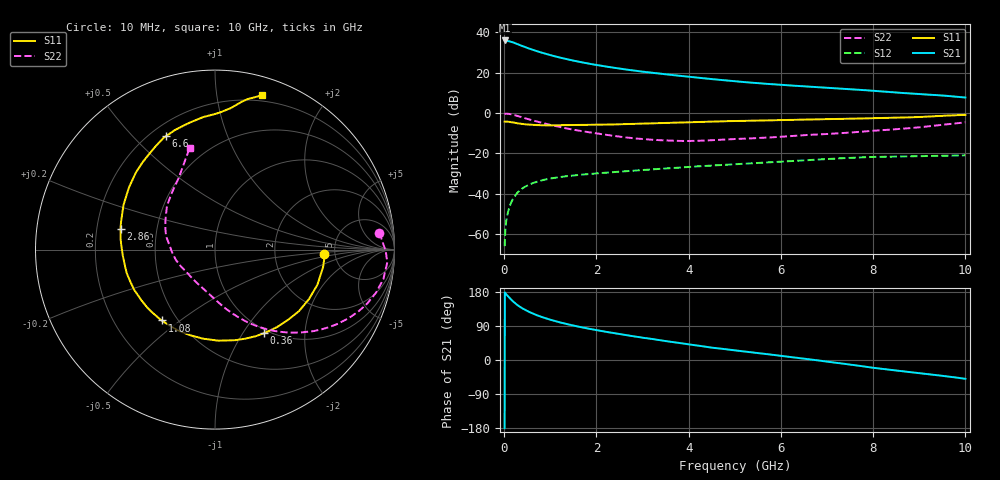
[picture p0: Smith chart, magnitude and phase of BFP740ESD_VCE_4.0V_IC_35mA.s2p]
! Infineon Technologies  Discrete & RF Semiconductors
! BFP740ESD
! VCE =  4.0 V,  IC =  35 mA
! Common Emitter S-Parameters:  Jan 2016
# GHz  S  MA  R  50
!  f  S11  S21  S12  S22
! GHz  MAG  ANG  MAG  ANG  MAG  ANG  MAG  ANG
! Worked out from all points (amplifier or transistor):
!   233 points, 10 MHz to 10 GHz, reference 50 ohm
!   highest |S21| = 35.9 dB at 10 MHz (marker M1)
!   |S21| within 3 dB of that: start of sweep to 421.4 MHz
!   unconditionally stable (mu >= 1): start of sweep to 16.27 MHz; 4.077 GHz to 6.616 GHz
!   at 200 MHz: K = 0.27, MSG = 38.6 dB, |S12| = -42.3 dB
!   at 1.74 GHz: K = 0.72, MSG = 27.7 dB, |S12| = -30.5 dB
!   at 10 GHz: K = 0.71, MSG = 14.3 dB, |S12| = -21.0 dB
!   S11 on the Smith chart (normalised r, x): 10 MHz: 4.08, -0.32; 360 MHz: 0.95, -1.25; 1.08 GHz: 0.41, -0.43; 2.86 GHz: 0.30, +0.10; 6.6 GHz: 0.26, +0.63; 10 GHz: 0.15, +1.34
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0.01  0.6083 -2.3  62.5 -179.9  0.0005 64.9  0.9211 5.9
0.02  0.6114 -3.7  61.69 176.7  0.001 71.5  0.9515 -0.6
0.025  0.6108 -4.6  61.58 176.0  0.0012 71.4  0.9531 -1.2
0.1  0.6033 -18.9  60.2 166.1  0.0041 76.4  0.9523 -10.0
0.15  0.5919 -27.7  58.08 159.5  0.006 73.5  0.9281 -15.1
0.2  0.5801 -36.3  55.59 153.8  0.0077 70.9  0.8986 -19.7
0.26  0.5616 -45.5  52.19 147.5  0.0096 68.0  0.8596 -24.5
0.36  0.5396 -59.8  47.12 139.0  0.0126 63.7  0.7959 -31.5
0.5  0.5175 -77.2  40.94 129.3  0.0159 58.4  0.7146 -39.4
0.68  0.5009 -95.7  34.79 119.6  0.0193 52.9  0.6264 -47.6
0.9  0.4954 -114.4  29.18 110.0  0.0225 48.0  0.54 -56.0
1.08  0.4936 -126.9  25.64 103.5  0.0245 45.1  0.4822 -61.7
1.3  0.4967 -139.6  22.25 96.4  0.0266 42.4  0.4252 -67.9
1.68  0.5033 -156.7  18.01 86.3  0.0295 39.6  0.3544 -76.7
2.2  0.5135 -174.6  14.15 74.5  0.0331 37.4  0.2885 -87.6
2.86  0.5384 167.7  11.04 61.5  0.0375 35.7  0.2328 -104.0
3.4  0.5614 156.0  9.334 51.9  0.0414 34.3  0.2106 -119.0
5.1  0.634 128.9  5.952 24.0  0.0541 28.1  0.2279 -167.6
6.6  0.6884 113.4  4.494 2.0  0.0678 20.9  0.2856 163.1
6.8  0.6948 111.0  4.35 -1.0  0.0699 19.5  0.2928 159.9
8.4  0.7553 90.0  3.269 -26.3  0.0828 4.9  0.3879 129.6
10  0.8976 73.2  2.408 -49.7  0.0889 -7.9  0.585 103.9
